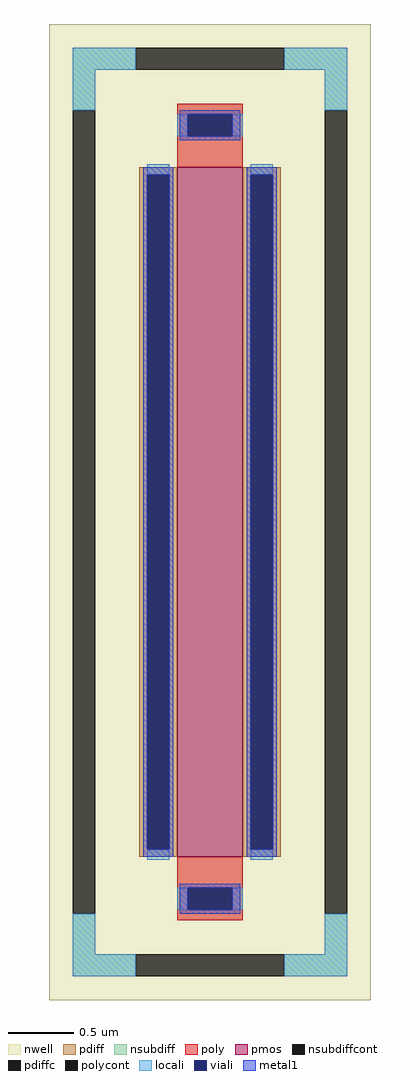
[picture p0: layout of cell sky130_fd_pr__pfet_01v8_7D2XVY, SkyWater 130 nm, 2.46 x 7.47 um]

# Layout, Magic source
magic
tech sky130A
magscale 1 2
<< nwell >>
rect -246 -747 246 747
<< pmos >>
rect -50 -528 50 528
<< pdiff >>
rect -108 516 -50 528
rect -108 -516 -96 516
rect -62 -516 -50 516
rect -108 -528 -50 -516
rect 50 516 108 528
rect 50 -516 62 516
rect 96 -516 108 516
rect 50 -528 108 -516
<< pdiffc >>
rect -96 -516 -62 516
rect 62 -516 96 516
<< nsubdiff >>
rect -210 677 -114 711
rect 114 677 210 711
rect -210 615 -176 677
rect 176 615 210 677
rect -210 -677 -176 -615
rect 176 -677 210 -615
rect -210 -711 -114 -677
rect 114 -711 210 -677
<< nsubdiffcont >>
rect -114 677 114 711
rect -210 -615 -176 615
rect 176 -615 210 615
rect -114 -711 114 -677
<< poly >>
rect -50 609 50 625
rect -50 575 -34 609
rect 34 575 50 609
rect -50 528 50 575
rect -50 -575 50 -528
rect -50 -609 -34 -575
rect 34 -609 50 -575
rect -50 -625 50 -609
<< polycont >>
rect -34 575 34 609
rect -34 -609 34 -575
<< locali >>
rect -210 677 -114 711
rect 114 677 210 711
rect -210 615 -176 677
rect 176 615 210 677
rect -50 575 -34 609
rect 34 575 50 609
rect -96 516 -62 532
rect -96 -532 -62 -516
rect 62 516 96 532
rect 62 -532 96 -516
rect -50 -609 -34 -575
rect 34 -609 50 -575
rect -210 -677 -176 -615
rect 176 -677 210 -615
rect -210 -711 -114 -677
rect 114 -711 210 -677
<< viali >>
rect -34 575 34 609
rect -96 -516 -62 516
rect 62 -516 96 516
rect -34 -609 34 -575
<< metal1 >>
rect -46 609 46 615
rect -46 575 -34 609
rect 34 575 46 609
rect -46 569 46 575
rect -102 516 -56 528
rect -102 -516 -96 516
rect -62 -516 -56 516
rect -102 -528 -56 -516
rect 56 516 102 528
rect 56 -516 62 516
rect 96 -516 102 516
rect 56 -528 102 -516
rect -46 -575 46 -569
rect -46 -609 -34 -575
rect 34 -609 46 -575
rect -46 -615 46 -609
<< properties >>
string FIXED_BBOX -193 -694 193 694
string gencell sky130_fd_pr__pfet_01v8
string library sky130
string parameters w 5.283 l 0.500 m 1 nf 1 diffcov 100 polycov 100 guard 1 glc 1 grc 1 gtc 1 gbc 1 tbcov 100 rlcov 100 topc 1 botc 1 poverlap 0 doverlap 1 lmin 0.15 wmin 0.42 compatible {sky130_fd_pr__pfet_01v8  sky130_fd_pr__pfet_01v8_lvt sky130_fd_pr__pfet_01v8_hvt  sky130_fd_pr__pfet_g5v0d10v5} full_metal 1 viasrc 100 viadrn 100 viagate 100 viagb 0 viagr 0 viagl 0 viagt 0
<< end >>
